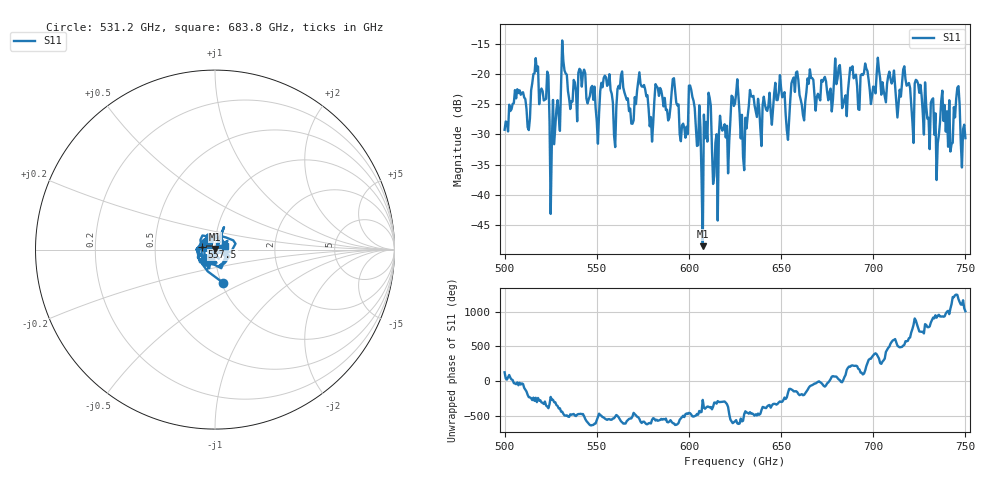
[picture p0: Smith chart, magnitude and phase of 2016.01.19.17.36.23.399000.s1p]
!Created with skrf (http://scikit-rf.org).
# GHz S RI R 50.0
!freq ReS11 ImS11
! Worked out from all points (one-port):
!   401 points, 500 GHz to 750 GHz, reference 50 ohm
!   lowest |S11| = -48.5 dB at 607.5 GHz (marker M1), VSWR 1.01, Z = 50 + j0.374 ohm
!   |S11| at or under -10 dB: start of sweep to end of sweep
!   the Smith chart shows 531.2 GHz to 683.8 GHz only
!   S11 on the Smith chart (normalised r, x): 531.2 GHz: 1.02, -0.39; 557.5 GHz: 0.87, +0.03; 683.8 GHz: 1.11, +0.04
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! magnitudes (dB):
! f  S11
! 500 GHz  -29.2
! 513.1 GHz  -29.3
! 516.9 GHz  -17.3
! 526.2 GHz  -24.3
! 531.2 GHz  -14.4
! 557.5 GHz  -22.7
! 559.4 GHz  -30.1
! 562.5 GHz  -22.4
! 568.8 GHz  -28.2
! 573.8 GHz  -21.6
! 579.4 GHz  -27.1
! 593.8 GHz  -25.2
! 598.1 GHz  -30.5
! 601.2 GHz  -22.6
! 607.5 GHz  -48.5
! 610.6 GHz  -23.1
! 614.4 GHz  -31.3
! 625 GHz  -24.9
! 629.4 GHz  -33.7
! 633.8 GHz  -23.6
! 653.8 GHz  -30.9
! 656.2 GHz  -20.9
! 683.8 GHz  -25.0
! 687.5 GHz  -18.9
! 718.8 GHz  -21.7
! 734.4 GHz  -37.6
! 745.6 GHz  -22.3
! 750 GHz  -30.6
